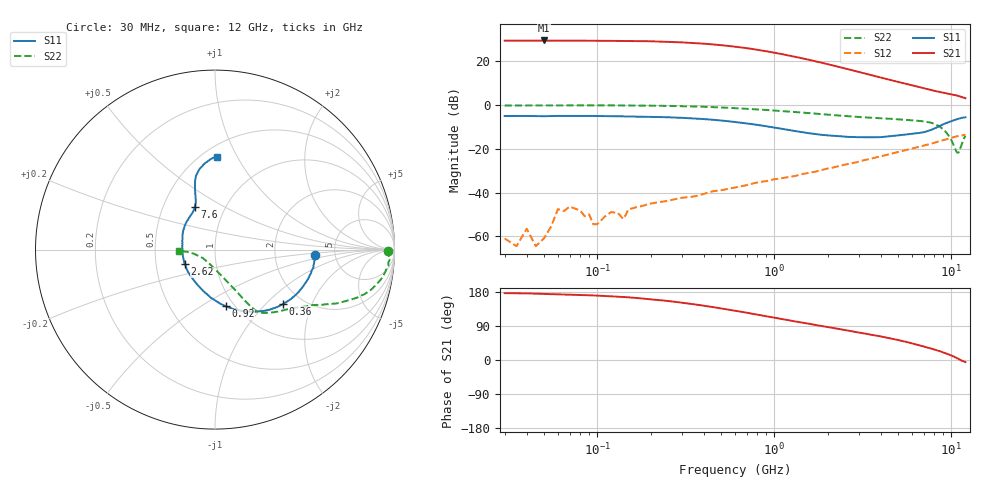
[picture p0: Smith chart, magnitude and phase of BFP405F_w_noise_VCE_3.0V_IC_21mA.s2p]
! Infineon Technologies  Discrete & RF Semiconductors
! BFP405F
! VCE =  3.0 V,  IC =  21 mA
! Common Emitter S-Parameters:  Nov 2015
# GHz  S  MA  R  50
!  f  S11  S21  S12  S22
! GHz  MAG  ANG  MAG  ANG  MAG  ANG  MAG  ANG
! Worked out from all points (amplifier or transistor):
!   239 points, 30 MHz to 12 GHz, reference 50 ohm
!   highest |S21| = 29.3 dB at 50 MHz (marker M1)
!   |S21| within 3 dB of that: start of sweep to 623.6 MHz
!   unconditionally stable (mu >= 1): 33.77 MHz to 36.43 MHz; 42.22 MHz to 50.55 MHz; 1.626 GHz to end of sweep
!   at 300 MHz: K = 0.33, MSG = 35.4 dB, |S12| = -42.4 dB
!   at 1.88 GHz: K = 1.07, MAG = 22.7 dB, |S12| = -29.6 dB
!   at 12 GHz: K = 1.38, MAG = 4.7 dB, |S12| = -13.7 dB
!   lowest NFmin = 2.30 dB at 450 MHz
!   S11 on the Smith chart (normalised r, x): 30 MHz: 3.47, -0.29; 360 MHz: 1.60, -1.27; 920 MHz: 0.91, -0.64; 2.62 GHz: 0.71, -0.12; 7.6 GHz: 0.72, +0.37; 12 GHz: 0.59, +0.83
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0.03  0.5556 -3.0  29.07 176.4  0.0009 -173.6  0.9623 -0.3
0.035  0.556 -3.7  29.08 176.1  0.0006 99.5  0.9656 -0.5
0.04  0.5564 -4.4  29.09 175.8  0.0015 62.7  0.9689 -0.6
0.05  0.5493 -5.5  29.27 174.4  0.0009 -59.5  0.9646 -1.3
0.06  0.5578 -5.7  29.01 173.6  0.0042 151.7  0.9659 -1.3
0.085  0.5566 -9.8  28.88 171.1  0.0029 139.5  0.9751 -2.8
0.15  0.5446 -17.3  28.5 165.4  0.0042 103.8  0.9651 -5.7
0.2  0.5321 -22.6  28.05 160.1  0.0056 85.3  0.956 -7.6
0.24  0.5226 -26.7  27.35 156.7  0.0063 82.1  0.9471 -9.1
0.3  0.5052 -32.9  26.48 151.3  0.0076 77.6  0.9303 -11.1
0.36  0.4856 -38.6  25.39 146.4  0.0083 78.6  0.913 -12.9
0.46  0.453 -47.5  23.62 138.9  0.0108 73.8  0.8821 -15.6
0.6  0.4063 -58.8  21.11 129.9  0.013 75.3  0.8389 -18.5
0.7  0.3761 -65.6  19.52 124.5  0.0148 74.5  0.8104 -20.0
0.92  0.3202 -79.3  16.4 114.6  0.0186 71.9  0.7571 -22.9
1.3  0.253 -100.0  12.52 101.9  0.0237 72.2  0.6856 -26.4
1.64  0.2199 -116.1  10.2 94.0  0.0291 71.4  0.6386 -28.9
2.62  0.1854 -153.7  6.45 77.5  0.0452 70.0  0.5483 -36.3
4.5  0.191 161.9  3.695 57.4  0.0756 64.1  0.4809 -46.5
7.6  0.2633 115.2  2.187 30.9  0.1283 51.2  0.3934 -57.0
10.8  0.4716 98.5  1.617 4.5  0.1921 32.6  0.0808 -122.7
12  0.518 89.0  1.412 -5.5  0.2076 25.5  0.1982 -178.0
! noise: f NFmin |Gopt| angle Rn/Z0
0.45  2.3  0.01  -63  0.46
0.9  2.31  0.02  -121  0.35
1.5  2.37  0.04  -124  0.41
1.9  2.45  0.05  -124  0.51
2.4  2.59  0.07  -124  0.18
3  2.69  0.08  -122  0.18
3.5  2.77  0.1  -119  0.26
4.5  3.02  0.15  -105  0.51
5.5  3.36  0.26  -88  0.5
